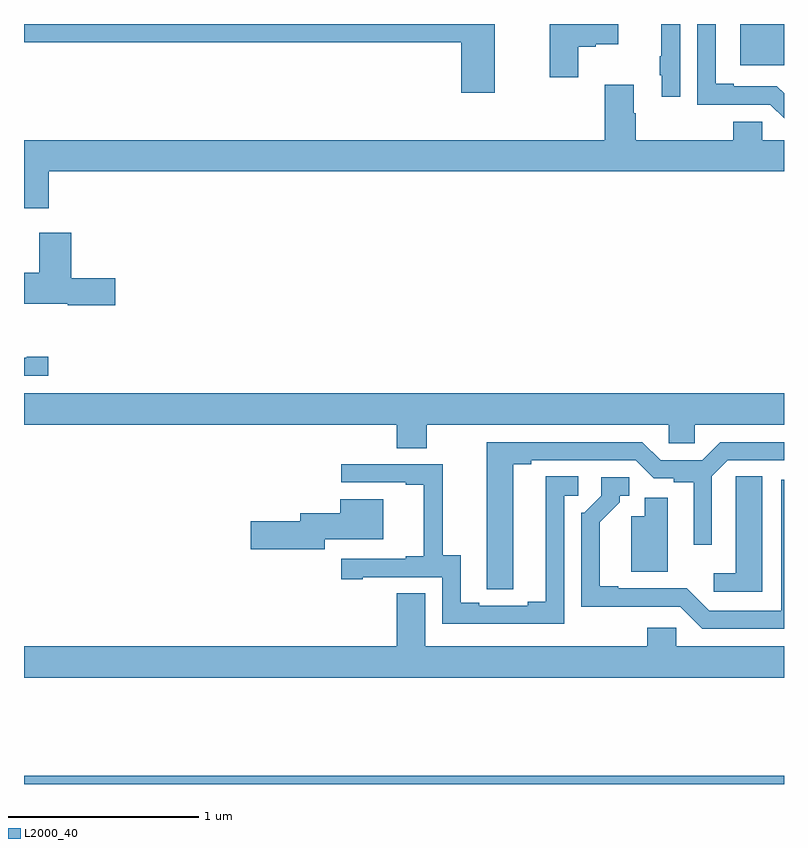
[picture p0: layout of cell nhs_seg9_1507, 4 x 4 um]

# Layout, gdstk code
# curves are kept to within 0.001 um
import gdstk
lib = gdstk.Library(unit=1e-6, precision=1e-09)
def R(c, l, rs):  # rectangles x0, y0, x1, y1
    for r in rs: c.add(gdstk.rectangle(r[:2], r[2:], *l))
def P(c, l, *ps):  # polygons
    for p in ps: c.add(gdstk.Polygon(p, *l))
L2000_40 = (2000, 40)

nhs_seg9_1507 = lib.new_cell('nhs_seg9_1507')
R(nhs_seg9_1507, L2000_40, [(195,1222.5,199,1222.544), (198.77,1226.282,199,1226.5)])
P(nhs_seg9_1507, L2000_40, [(199,1226.135),(198.963,1226.172),(198.736,1226.172),(198.736,1226.185),(198.64,1226.185),(198.64,1226.5),(198.543,1226.5),(198.543,1226.076),(198.927,1226.076),(199,1226.003)],
  [(198.453,1226.5),(198.355,1226.5),(198.355,1226.33),(198.345,1226.33),(198.345,1226.23),(198.356,1226.23),(198.356,1226.118),(198.453,1226.118)],
  [(197.478,1226.5),(195,1226.5),(195,1226.404),(197.3,1226.404),(197.3,1226.139),(197.478,1226.139)],
  [(197.916,1226.381),(198.009,1226.381),(198.009,1226.393),(198.127,1226.393),(198.127,1226.5),(197.767,1226.5),(197.767,1226.22),(197.916,1226.22)],
  [(195.131,1225.724),(199,1225.724),(199,1225.888),(198.885,1225.888),(198.885,1225.986),(198.734,1225.986),(198.734,1225.888),(198.221,1225.888),(198.221,1226.03),(198.208,1226.03),(198.208,1226.179),(198.056,1226.179),(198.056,1225.888),(195,1225.888),(195,1225.53),(195.131,1225.53)],
  [(195.481,1225.163),(195.248,1225.163),(195.248,1225.402),(195.08,1225.402),(195.08,1225.191),(195,1225.191),(195,1225.028),(195.231,1225.028),(195.231,1225.021),(195.481,1225.021)],
  [(195.127,1224.749),(195.014,1224.749),(195.014,1224.744),(195,1224.744),(195,1224.648),(195.127,1224.648)],
  [(197.121,1224.392),(198.393,1224.392),(198.393,1224.294),(198.531,1224.294),(198.531,1224.392),(199,1224.392),(199,1224.556),(195,1224.556),(195,1224.392),(196.961,1224.392),(196.961,1224.268),(197.121,1224.268)],
  [(197.575,1224.184),(197.671,1224.184),(197.671,1224.204),(198.219,1224.204),(198.315,1224.108),(198.42,1224.108),(198.42,1224.088),(198.524,1224.088),(198.524,1223.76),(198.621,1223.76),(198.621,1224.12),(198.705,1224.204),(199,1224.204),(199,1224.3),(198.665,1224.3),(198.569,1224.204),(198.351,1224.204),(198.255,1224.3),(197.435,1224.3),(197.436,1223.524),(197.575,1223.524)],
  [(197.844,1224.018),(197.917,1224.018),(197.917,1224.119),(197.747,1224.119),(197.747,1223.459),(197.651,1223.459),(197.651,1223.439),(197.395,1223.439),(197.395,1223.454),(197.299,1223.454),(197.299,1223.705),(197.205,1223.705),(197.205,1224.183),(196.671,1224.183),(196.671,1224.087),(197.009,1224.087),(197.009,1224.075),(197.105,1224.075),(197.105,1223.698),(197.009,1223.698),(197.009,1223.685),(196.671,1223.685),(196.671,1223.577),(196.783,1223.577),(196.783,1223.589),(197.202,1223.589),(197.202,1223.343),(197.844,1223.343)],
  [(198.886,1224.119),(198.747,1224.119),(198.747,1224.011),(198.746,1224.011),(198.746,1223.608),(198.63,1223.608),(198.63,1223.511),(198.886,1223.511)],
  [(199,1224.102),(198.986,1224.102),(198.986,1223.412),(198.606,1223.412),(198.489,1223.529),(198.127,1223.529),(198.127,1223.542),(198.031,1223.542),(198.031,1223.878),(198.136,1223.983),(198.136,1224.018),(198.186,1224.018),(198.186,1224.114),(198.039,1224.114),(198.039,1224.018),(197.949,1223.928),(197.934,1223.928),(197.934,1223.432),(198.453,1223.433),(198.57,1223.316),(199,1223.316)],
  [(198.388,1224.006),(198.266,1224.006),(198.266,1223.908),(198.197,1223.908),(198.197,1223.618),(198.388,1223.618)],
  [(196.582,1223.789),(196.891,1223.789),(196.891,1223.998),(196.664,1223.998),(196.664,1223.925),(196.454,1223.925),(196.454,1223.882),(196.194,1223.882),(196.194,1223.735),(196.582,1223.735)],
  [(199,1223.224),(198.432,1223.224),(198.432,1223.322),(198.281,1223.322),(198.281,1223.224),(197.113,1223.224),(197.113,1223.504),(196.961,1223.504),(196.961,1223.224),(195,1223.224),(195,1223.06),(199,1223.06)])

lib.write_gds('nhs_seg9_1507.gds')
